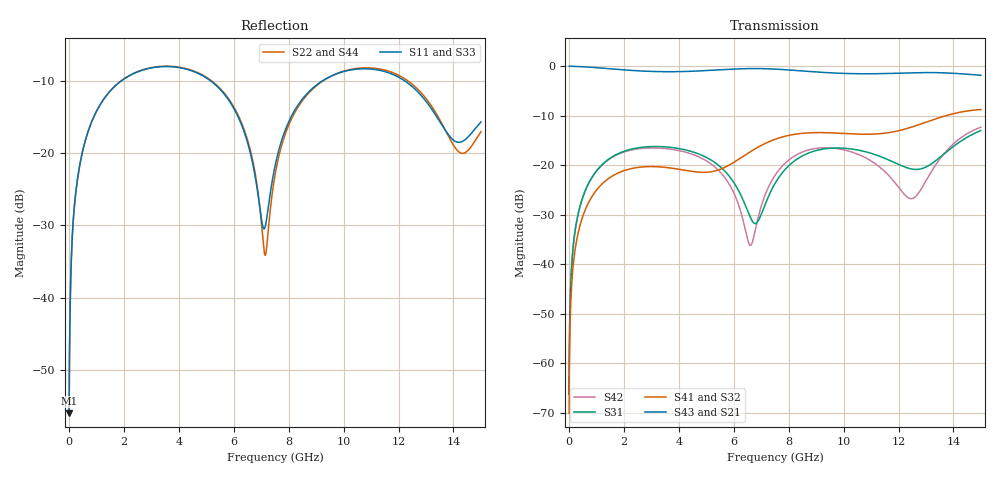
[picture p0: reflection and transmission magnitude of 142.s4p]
! Created with skrf 1.8.0 (http://scikit-rf.org).
# GHz S RI R 50.0
!freq ReS11 ImS11 ReS12 ImS12 ReS13 ImS13
! ReS14 ImS14
! ReS21 ImS21 ReS22 ImS22 ReS23 ImS23
! ReS24 ImS24
! ReS31 ImS31 ReS32 ImS32 ReS33 ImS33
! ReS34 ImS34
! ReS41 ImS41 ReS42 ImS42 ReS43 ImS43
! ReS44 ImS44
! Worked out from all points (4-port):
!   2499 points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, 5 MHz to 15 GHz, reference 50 ohm
!   strongest paths, dB at 5 MHz, 3.476 GHz, 7.19 GHz, 11.1 GHz, 15 GHz:
!     S43: 0.0, -1.1, -0.5, -1.5, -1.8
!     S21: 0.0, -1.1, -0.5, -1.5, -1.8
!     S41: -70.2, -20.4, -15.5, -13.7, -8.8
!     S32: -70.2, -20.4, -15.5, -13.7, -8.8
!     S31: -66.2, -16.3, -27.3, -17.8, -13.0
!     S42: -66.2, -16.6, -25.4, -19.5, -12.3
!   lowest |S11| = -56.0 dB at 5 MHz (marker M1), VSWR 1.00, Z = 50.1 + j0.0966 ohm
!   |S11| at or under -10 dB: start of sweep to 1.923 GHz; 5.14 GHz to 9.248 GHz (4.108 GHz wide, 57.1 % of centre); 12.21 GHz to end of sweep
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0.005  0.00126 0.000964  0.9987 -0.00246  6.19e-05 0.000483  -6.02e-05 -0.000305
       0.9987 -0.00246  0.00126 0.000964  -6.02e-05 -0.000305  6.18e-05 0.000483
       6.19e-05 0.000483  -6.02e-05 -0.000305  0.00126 0.000964  0.9987 -0.00246
       -6.02e-05 -0.000305  6.18e-05 0.000483  0.9987 -0.00246  0.00126 0.000964
0.4126719  0.0235 0.0831  0.9674 -0.2014  0.0111 0.0377  -0.00901 -0.0236
           0.9674 -0.2014  0.0236 0.083  -0.00902 -0.0236  0.0105 0.0378
           0.0111 0.0377  -0.00902 -0.0236  0.0235 0.0831  0.9674 -0.2014
           -0.00901 -0.0236  0.0105 0.0378  0.9674 -0.2014  0.0236 0.0831
2.125886  0.2859 0.175  0.5129 -0.7524  0.1329 0.0484  -0.09 -0.000342
          0.5129 -0.7524  0.2883 0.1733  -0.0901 -0.000241  0.1255 0.0593
          0.1329 0.0484  -0.0901 -0.000241  0.2858 0.175  0.513 -0.7523
          -0.09 -0.000342  0.1255 0.0593  0.513 -0.7523  0.2883 0.1732
5.727386  0.1673 -0.1783  -0.702 -0.603  0.0156 -0.0824  -0.0454 0.0852
          -0.702 -0.603  0.1619 -0.189  -0.0446 0.086  0.0496 -0.0513
          0.0156 -0.0824  -0.0446 0.086  0.168 -0.177  -0.7021 -0.6031
          -0.0454 0.0852  0.0496 -0.0513  -0.7021 -0.6031  0.1607 -0.1896
7.109212  0.0299 0.000611  -0.94 -0.0607  -0.0154 0.0347  -0.00722 0.1635
          -0.94 -0.0607  0.0194 -0.00717  -0.00534 0.1635  0.0237 0.0408
          -0.0154 0.0347  -0.00534 0.1635  0.0323 0.00093  -0.94 -0.061
          -0.00722 0.1635  0.0237 0.0408  -0.94 -0.061  0.017 -0.00696
9.416424  0.2924 0.1526  -0.4975 0.6992  0.1471 0.0057  0.197 0.0792
          -0.4975 0.6992  0.2898 0.1555  0.198 0.0768  0.1494 0.00987
          0.1471 0.0057  0.198 0.0768  0.293 0.1494  -0.4985 0.699
          0.197 0.0792  0.1494 0.00987  -0.4985 0.699  0.2871 0.1582
15  0.1562 0.0485  0.7936 -0.1542  0.0849 0.2065  -0.099 -0.3506
    0.7936 -0.1542  0.1316 0.0476  -0.1051 -0.3492  0.0971 0.2211
    0.0849 0.2065  -0.1051 -0.3492  0.1558 0.0496  0.7938 -0.1531
    -0.099 -0.3506  0.0971 0.2211  0.7938 -0.1531  0.1327 0.0523
